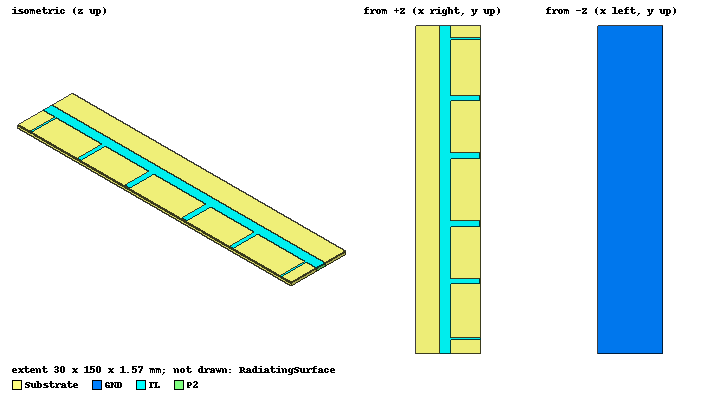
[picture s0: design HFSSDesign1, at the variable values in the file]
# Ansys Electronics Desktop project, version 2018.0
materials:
  vacuum: permittivity=1
  Rogers RT/duroid 5880 (tm): permittivity=2.2 dielectric_loss_tangent=0.0009
  copper: permeability=0.999991 conductivity=58000000

design HFSSDesign1 (HFSS, DrivenModal, model units mm)
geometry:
  Substrate [Rogers RT/duroid 5880 (tm)] = box(corner=(-15mm, -75mm, 0mm), size=(30mm, 150mm, -1.57mm))
  GND = rectangle(corner=(-15mm, -75mm, -1.57mm), x_size=30mm, y_size=150mm)
  TL = rectangle(corner=(1.1mm, -75mm, 0mm), x_size=-4.9mm, y_size=150mm)
  Rectangle1 = rectangle(corner=(15mm, -68.6mm, 0mm), x_size=-13.9mm, y_size=0.9mm)
  Rectangle2 = rectangle(corner=(15mm, 68.6mm, 0mm), x_size=-13.9mm, y_size=0.9mm)
  Rectangle3 = rectangle(corner=(1.1mm, -42.8mm, 0mm), x_size=13.5mm, y_size=2mm)
  Rectangle4 = rectangle(corner=(1.1mm, 42.8mm, 0mm), x_size=13.5mm, y_size=-2mm)
  Rectangle5 = rectangle(corner=(1.1mm, -17mm, 0mm), x_size=13.2mm, y_size=2.8mm)
  Rectangle6 = rectangle(corner=(1.1mm, 17mm, 0mm), x_size=13.2mm, y_size=-2.8mm)
  TL.unite(Rectangle1..Rectangle6)
  ViaHG [copper] = cylinder(axis=Z, base_centre=(14.6mm, -68.15mm, 0mm), radius=0.2mm, height=-1.57mm)
  ViaHG1 [copper] = cylinder(axis=Z, base_centre=(14.6mm, 69mm, 0mm), radius=0.2mm, height=-1.57mm)
  ViaHG2 [copper] = cylinder(axis=Z, base_centre=(14mm, -41.8mm, 0mm), radius=0.2mm, height=-1.57mm)
  ViaHG3 [copper] = cylinder(axis=Z, base_centre=(14mm, 41.8mm, 0mm), radius=0.2mm, height=-1.57mm)
  ViaHG4 [copper] = cylinder(axis=Z, base_centre=(13.7mm, -15.6mm, 0mm), radius=0.5mm, height=-1.57mm)
  ViaHG5 [copper] = cylinder(axis=Z, base_centre=(13.7mm, 15.6mm, 0mm), radius=0.5mm, height=-1.57mm)
  P1 = rectangle(corner=(-3.8mm, -75mm, 0mm), z_size=-1.57mm, x_size=4.9mm)
  P2 = rectangle(corner=(-3.8mm, 75mm, 0mm), z_size=-1.57mm, x_size=4.9mm)
  RadiatingSurface [vacuum] = region(absolute_offset=66.666667mm on all sides)
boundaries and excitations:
  PerfE1: Perfect E Objects=[GND, TL]
  Open1: Radiation Objects=RadiatingSurface
  1: Lumped Port Objects=P1 Modes{Mode1{IntLine{P1.face -> P1.edge(z at corner) at 0.429 along} CharImp=Zpi RenormImp=50ohm}} Impedance=50ohm
  2: Lumped Port Objects=P2 Modes{Mode1{IntLine{middle of P2.edge(z opposite corner) -> middle of P2.edge(z at corner)} CharImp=Zpi RenormImp=50ohm}} Impedance=50ohm
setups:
  Setup1: HfssDriven Frequency=1.5GHz MaxDeltaS=0.02 MaximumPasses=12 MinimumPasses=1 MinimumConvergedPasses=1 PercentRefinement=30 BasisOrder=1 PortAccuracy=2
    sweep Sweep: 1GHz to 6GHz, 101 points; Type=Fast SaveFields
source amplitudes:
  1:1: 1W 0deg
  2:1: 0W 0deg
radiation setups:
  3D: Infinite Sphere Theta=0deg..180deg step 2deg Phi=-180deg..180deg step 2deg
  Elevation: Infinite Sphere Theta=-180deg..180deg step 1deg Phi=0deg..90deg step 90deg
  Azimuth: Infinite Sphere Theta=90deg..90deg step 0deg Phi=-180deg..180deg step 1deg
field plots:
  Mag_E1: E Field over TL.face(at (-1.35, 0, 0)) on Setup1 : LastAdaptive at Freq=1.5GHz Phase=0deg
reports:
  S Parameter Plot 1: dB(S(1,1)), dB(S(1,2)), dB(S(2,1)) vs Freq on Setup1 : Sweep; markers m1 at 1.5GHz
  S Parameter Plot 2: dB(S(1,1)), dB(S(1,2)), dB(S(2,1)), dB(S(2,2)) vs Freq on Setup1 : Sweep
